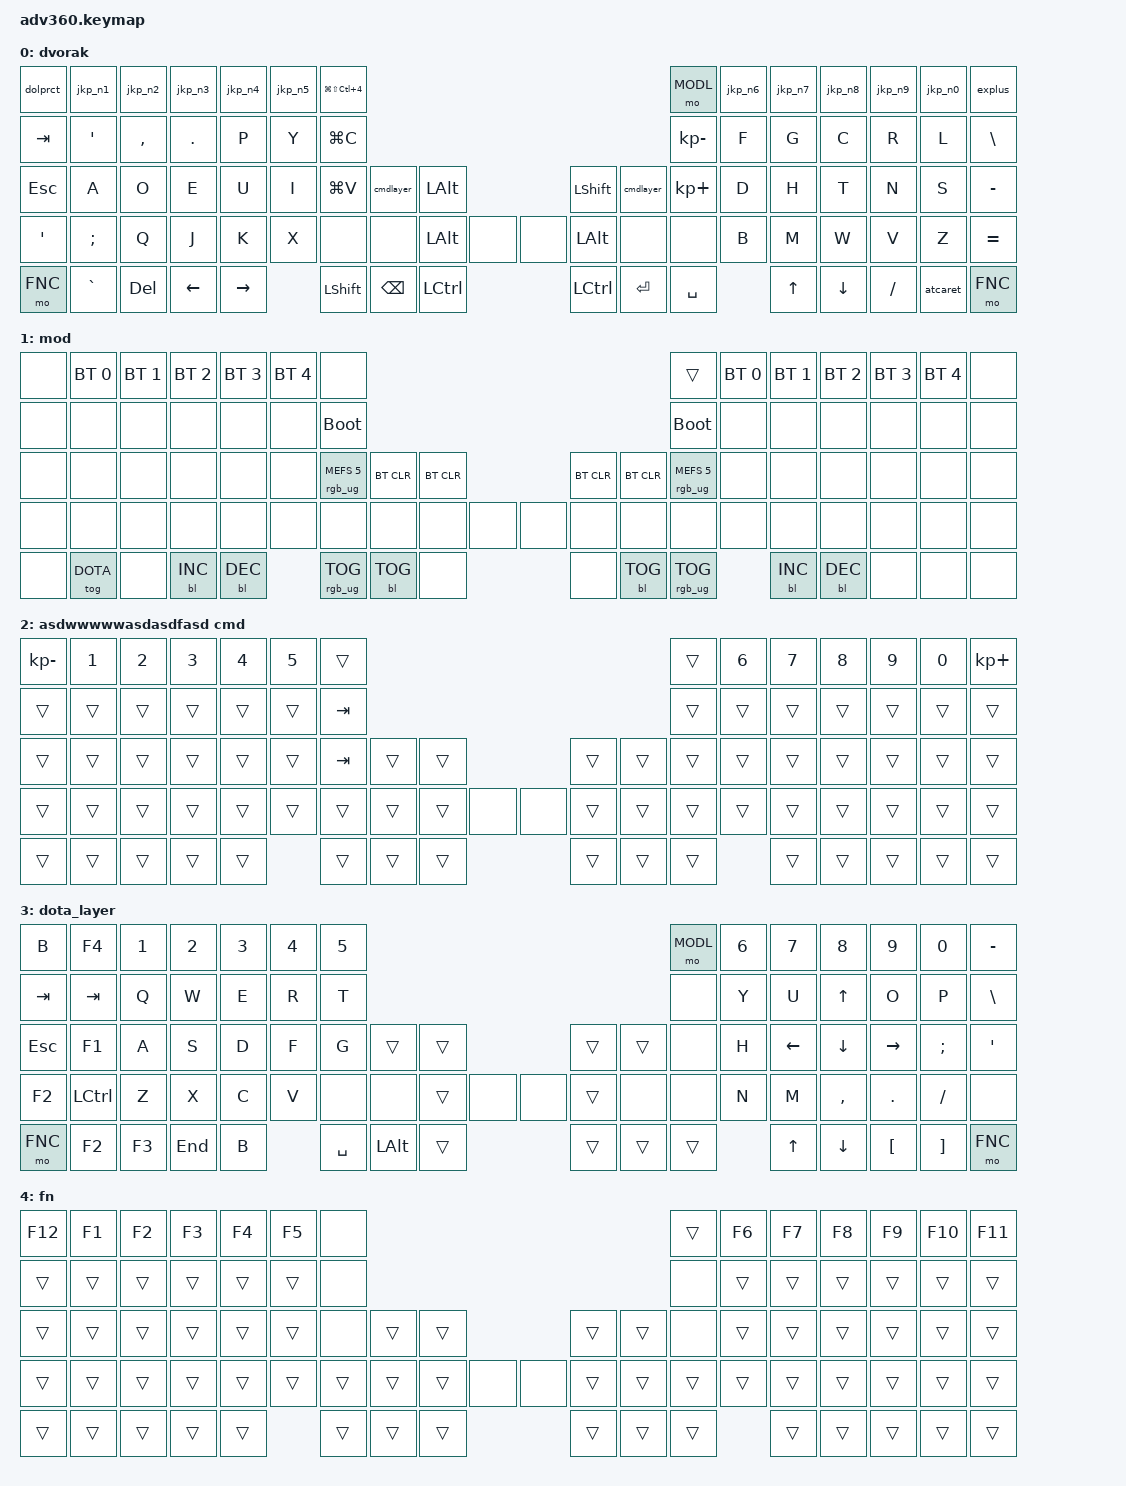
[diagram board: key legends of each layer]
#include <behaviors.dtsi>
#include <dt-bindings/zmk/keys.h>
#include <dt-bindings/zmk/bt.h>
#include <dt-bindings/zmk/rgb.h>
#include <dt-bindings/zmk/backlight.h>


// #define DEFAULT 0
#define DOTA    3
#define DVRK    0
#define CMDL    2
#define FNC     4
#define MODL    1


/ {
    behaviors {
      #include "macros.dtsi"

      hm: homerow_mods {
          compatible = "zmk,behavior-hold-tap";
          label = "HOMEROW_MODS";
          #binding-cells = <2>;
          tapping-term-ms = <200>;
          quick_tap_ms = <175>;
          flavor = "tap-preferred";
          bindings = <&kp>, <&kp>;
      };
    };

  jkp_n1: star_kp_n1 {
    compatible = "zmk,behavior-mod-morph";
    label = "plus_kp_n1";
    #binding-cells = <0>;
    bindings = <&kp STAR>, <&kp KP_N1>;
    mods = <(MOD_LGUI|MOD_LSFT|MOD_RGUI|MOD_RSFT)>;
  };
  jkp_n2: left_bracket_kp_n2 {
      compatible = "zmk,behavior-mod-morph";
      label = "left_bracket_kp_n2";
      #binding-cells = <0>;
      bindings = <&kp LEFT_BRACKET>, <&kp KP_N2>;
      mods = <(MOD_LGUI|MOD_LSFT|MOD_RGUI|MOD_RSFT)>;
  };
  jkp_n3: left_brace_kp_n3 {
      compatible = "zmk,behavior-mod-morph";
      label = "left_brace_kp_n3";
      #binding-cells = <0>;
      bindings = <&kp LEFT_BRACE>, <&kp KP_N3>;
      mods = <(MOD_LGUI|MOD_LSFT|MOD_RGUI|MOD_RSFT)>;
  };
  jkp_n4: left_parenthesis_kp_n4 {
      compatible = "zmk,behavior-mod-morph";
      label = "left_parenthesis_kp_n4";
      #binding-cells = <0>;
      bindings = <&kp LEFT_PARENTHESIS>, <&kp KP_N4>;
      mods = <(MOD_LGUI|MOD_LSFT|MOD_RGUI|MOD_RSFT)>;
  };
  jkp_n5: equal_kp_n5 {
      compatible = "zmk,behavior-mod-morph";
      label = "amps_kp_n5";
      #binding-cells = <0>;
      bindings = <&kp EQUAL>, <&kp KP_N5>;
      mods = <(MOD_LGUI|MOD_LSFT|MOD_RGUI|MOD_RSFT)>;
  };
  jkp_n6: amps_kp_n6 {
      compatible = "zmk,behavior-mod-morph";
      label = "equal_kp_n6";
      #binding-cells = <0>;
      bindings = <&kp AMPS>, <&kp KP_N6>;
      mods = <(MOD_LGUI|MOD_LSFT|MOD_RGUI|MOD_RSFT)>;
  };
  jkp_n7: right_parenthesis_kp_n7 {
      compatible = "zmk,behavior-mod-morph";
      label = "right_parenthesis_kp_n7";
      #binding-cells = <0>;
      bindings = <&kp RIGHT_PARENTHESIS>, <&kp KP_N7>;
      mods = <(MOD_LGUI|MOD_LSFT|MOD_RGUI|MOD_RSFT)>;
  };
  jkp_n8: right_brace_kp_n8 {
      compatible = "zmk,behavior-mod-morph";
      label = "right_brace_kp_n8";
      #binding-cells = <0>;
      bindings = <&kp RIGHT_BRACE>, <&kp KP_N8>;
      mods = <(MOD_LGUI|MOD_LSFT|MOD_RGUI|MOD_RSFT)>;
  };
  jkp_n9: right_bracket_kp_n9 {
      compatible = "zmk,behavior-mod-morph";
      label = "right_bracket_kp_n9";
      #binding-cells = <0>;
      bindings = <&kp RIGHT_BRACKET>, <&kp KP_N9>;
      mods = <(MOD_LGUI|MOD_LSFT|MOD_RGUI|MOD_RSFT)>;
  };
  jkp_n0: star_kp_n0 {
      compatible = "zmk,behavior-mod-morph";
      label = "star_kp_n0";
      #binding-cells = <0>;
      bindings = <&kp HASH>, <&kp KP_N0>;
      mods = <(MOD_LGUI|MOD_LSFT|MOD_RGUI|MOD_RSFT)>;
  };
  explus: excl_plus {
      compatible = "zmk,behavior-mod-morph";
      label = "excl_plus";
      #binding-cells = <0>;
      bindings = <&kp EXCL>, <&kp PLUS>;
      mods = <(MOD_LGUI|MOD_LSFT|MOD_RGUI|MOD_RSFT)>;
  };
  atcaret: at_caret {
      compatible = "zmk,behavior-mod-morph";
      label = "at_caret";
      #binding-cells = <0>;
      bindings = <&kp AT>, <&kp CARET>;
      mods = <(MOD_LGUI|MOD_LSFT|MOD_RGUI|MOD_RSFT)>;
  };
  dolprct: dollar_percent {
      compatible = "zmk,behavior-mod-morph";
      label = "dollar_percent";
      #binding-cells = <0>;
      bindings = <&kp DOLLAR>, <&kp PERCENT>;
      mods = <(MOD_LGUI|MOD_LSFT|MOD_RGUI|MOD_RSFT)>;
  };
  cmdlayer: cmd_layer {
      compatible = "zmk,behavior-macro";
      label = "cmd_layer";
      #binding-cells = <0>;
      bindings = <&macro_press &mo CMDL &kp LGUI>
        , <&macro_pause_for_release>
        , <&macro_release &mo CMDL &kp LGUI>;
  };

  keymap {
    compatible = "zmk,keymap";

    // default_layer {
    //   bindings = <
    //     &kp EQUAL &kp N1    &kp N2   &kp N3   &kp N4     &kp N5 &none                                                                           &mo MODL &kp N6 &kp N7 &kp N8    &kp N9   &kp N0   &kp MINUS
    //     &kp TAB   &kp Q     &kp W    &kp E    &kp R      &kp T  &none                                                                           &none    &kp Y  &kp U  &kp I     &kp O    &kp P    &kp BSLH
    //     &kp ESC   &kp A     &kp S    &kp D    &kp F      &kp G  &none             &kp LGUI  &kp LALT              &kp LSHFT &kp LGUI            &none    &kp H  &kp J  &kp K     &kp L    &kp SEMI &kp SQT
    //     &none     &kp Z     &kp X    &kp C    &kp V      &kp B          &none     &none     &kp LALT  &none &none &kp LALT  &none     &none              &kp N  &kp M  &kp COMMA &kp DOT  &kp FSLH &none   
    //     &mo FNC   &kp GRAVE &kp CAPS &kp LEFT &kp RIGHT                 &kp LSHFT &kp BSPC  &kp LCTRL             &kp LCTRL &kp ENTER &kp SPACE                 &kp UP &kp DOWN  &kp LBKT &kp RBKT &mo FNC
    //   >;
    // };

    dvorak {
      bindings = <
        &dolprct    &jkp_n1    &jkp_n2    &jkp_n3    &jkp_n4    &jkp_n5    &kp LG(LS(LC(N4)))                                                                    &mo MODL     &jkp_n6    &jkp_n7    &jkp_n8       &jkp_n9      &jkp_n0      &explus
        &kp TAB     &kp SQT    &kp COMMA  &kp DOT    &kp P      &kp Y      &kp LG(C)                                                                             &kp KP_MINUS &kp F      &kp G      &kp C         &kp R        &kp L        &kp BSLH
        &kp ESC     &kp A      &kp O      &kp E      &kp U      &kp I      &kp LG(V)             &cmdlayer &kp LALT              &kp LSHFT &cmdlayer             &kp KP_PLUS  &kp D      &kp H      &kp T         &kp N        &kp S        &kp MINUS
        &kp SQT     &kp SEMI   &kp Q      &kp J      &kp K      &kp X                  &none     &none     &kp LALT  &none &none &kp LALT  &none     &none                    &kp B      &kp M      &kp W         &kp V        &kp Z        &kp EQUAL   
        &mo FNC     &kp GRAVE  &kp DEL    &kp LEFT   &kp RIGHT                         &kp LSHFT &kp BSPC  &kp LCTRL             &kp LCTRL &kp ENTER &kp SPACE                           &kp UP     &kp DOWN      &kp FSLH     &atcaret     &mo FNC
      >;
    };
    mod {
      bindings = <
        &none     &bt BT_SEL 0 &bt BT_SEL 1 &bt BT_SEL 2 &bt BT_SEL 3 &bt BT_SEL 4 &none                                                                                                          &trans                 &bt BT_SEL 0 &bt BT_SEL 1 &bt BT_SEL 2 &bt BT_SEL 3 &bt BT_SEL 4 &none
        &none     &none        &none        &none        &none        &none        &bootloader                                                                                                    &bootloader            &none        &none        &none        &none        &none        &none
        &none     &none        &none        &none        &none        &none        &rgb_ug RGB_MEFS_CMD 5                 &bt BT_CLR &bt BT_CLR             &bt BT_CLR &bt BT_CLR                 &rgb_ug RGB_MEFS_CMD 5 &none        &none        &none        &none        &none        &none
        &none     &none        &none        &none        &none        &none                               &none           &none      &none      &none &none &none      &none      &none                                  &none        &none        &none        &none        &none        &none
        &none     &tog DOTA    &none        &bl BL_INC   &bl BL_DEC                                       &rgb_ug RGB_TOG &bl BL_TOG &none                  &none      &bl BL_TOG &rgb_ug RGB_TOG                                     &bl BL_INC   &bl BL_DEC   &none        &none        &none
      >;
    };asdwwwwwasdasdfasd

    cmd {
      bindings = <
        &kp KP_MINUS &kp N1 &kp N2 &kp N3 &kp N4 &kp N5 &trans                                                                     &trans &kp N6 &kp N7 &kp N8 &kp N9 &kp N0 &kp KP_PLUS 
        &trans       &trans &trans &trans &trans &trans &kp TAB                                                                    &trans &trans &trans &trans &trans &trans &trans 
        &trans       &trans &trans &trans &trans &trans &kp TAB               &trans &trans             &trans &trans              &trans &trans &trans &trans &trans &trans &trans 
        &trans       &trans &trans &trans &trans &trans                &trans &trans &trans &none &none &trans &trans &trans              &trans &trans &trans &trans &trans &trans 
        &trans       &trans &trans &trans &trans                       &trans &trans &trans             &trans &trans &trans                     &trans &trans &trans &trans &trans 
      >;
    };
    
    dota_layer {
      bindings = <
        &kp B     &kp F4    &kp N1   &kp N2   &kp N3    &kp N4 &kp N5                                                                               &mo MODL &kp N6 &kp N7   &kp N8    &kp N9    &kp N0   &kp MINUS
        &kp TAB   &kp TAB   &kp Q    &kp W    &kp E     &kp R  &kp T                                                                                &none    &kp Y  &kp U    &kp UP    &kp O     &kp P    &kp BSLH
        &kp ESC   &kp F1    &kp A    &kp S    &kp D     &kp F  &kp G                  &trans    &trans                &trans    &trans              &none    &kp H  &kp LEFT &kp DOWN  &kp RIGHT &kp SEMI &kp SQT
        &kp F2    &kp LCTRL &kp Z    &kp X    &kp C     &kp V               &none     &none     &trans    &none &none &trans    &none     &none              &kp N  &kp M    &kp COMMA &kp DOT   &kp FSLH &none   
        &mo FNC   &kp F2    &kp F3   &kp END  &kp B                         &kp SPACE &kp LALT  &trans                &trans    &trans    &trans                    &kp UP   &kp DOWN  &kp LBKT  &kp RBKT &mo FNC
      >;
    };
    fn {
      bindings = <
        &kp F12 &kp F1 &kp F2   &kp F3 &kp F4 &kp F5  &none                                                       &trans &kp F6 &kp F7 &kp F8 &kp F9  &kp F10 &kp F11
        &trans  &trans &trans   &trans &trans &trans  &none                                                       &none  &trans &trans &trans &trans  &trans  &trans
        &trans  &trans &trans   &trans &trans &trans  &none        &trans &trans             &trans &trans        &none  &trans &trans &trans &trans  &trans  &trans
        &trans  &trans &trans   &trans &trans &trans        &trans &trans &trans &none &none &trans &trans &trans        &trans &trans &trans &trans  &trans  &trans
        &trans  &trans &trans   &trans &trans               &trans &trans &trans             &trans &trans &trans               &trans &trans &trans  &trans  &trans
      >;
    };






  };
};
/*
    GHOST {
      bindings = <
        &trans &trans &trans &trans &trans &trans &trans                                                            &trans &trans &trans &trans &trans &trans &trans 
        &trans &trans &trans &trans &trans &trans &trans                                                            &trans &trans &trans &trans &trans &trans &trans 
        &trans &trans &trans &trans &trans &trans &trans          &trans &trans             &trans &trans           &trans &trans &trans &trans &trans &trans &trans 
        &trans &trans &trans &trans &trans &trans          &trans &trans &trans &none &none &trans &trans &trans           &trans &trans &trans &trans &trans &trans 
        &trans &trans &trans &trans &trans                 &trans &trans &trans             &trans &trans &trans                  &trans &trans &trans &trans &trans 
      >;
    };
*/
